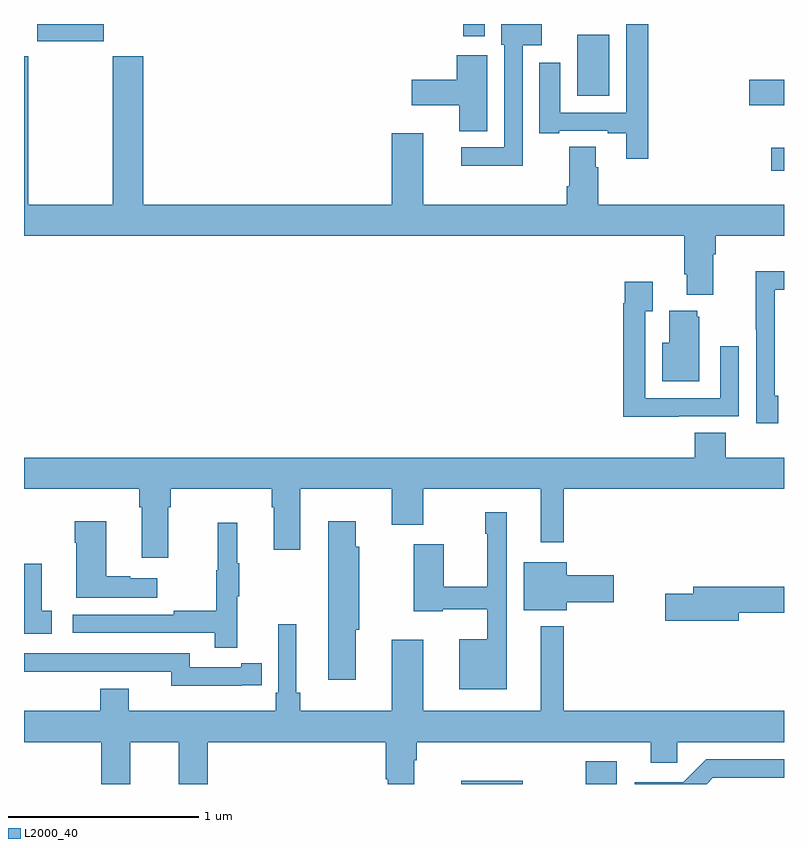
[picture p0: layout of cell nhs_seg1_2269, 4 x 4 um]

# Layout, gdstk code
import gdstk
lib = gdstk.Library(unit=1e-6, precision=1e-09)
def R(c, l, rs):  # rectangles x0, y0, x1, y1
    for r in rs: c.add(gdstk.rectangle(r[:2], r[2:], *l))
def P(c, l, *ps):  # polygons
    for p in ps: c.add(gdstk.Polygon(p, *l))
L2000_40 = (2000, 40)

nhs_seg1_2269 = lib.new_cell('nhs_seg1_2269')
R(nhs_seg1_2269, L2000_40, [(237.3,530.199,237.625,530.216), (237.956,530.199,238.12,530.32), (238.932,533.426,239,533.548), (238.818,533.771,239,533.906), (237.911,533.822,238.081,534.142), (235.07,534.107,235.42,534.199), (237.311,534.135,237.424,534.199)])
P(nhs_seg1_2269, L2000_40, [(238.286,534.199),(238.17,534.199),(238.17,533.733),(237.823,533.733),(237.823,533.995),(237.713,533.995),(237.713,533.625),(237.817,533.625),(237.817,533.637),(238.073,533.637),(238.073,533.625),(238.169,533.625),(238.169,533.49),(238.286,533.49)],
  [(237.624,534.086),(237.724,534.086),(237.724,534.199),(237.512,534.199),(237.512,534.09),(237.528,534.09),(237.528,533.55),(237.3,533.55),(237.3,533.453),(237.624,533.453)],
  [(237.439,534.034),(237.278,534.034),(237.278,533.906),(237.042,533.906),(237.042,533.771),(237.29,533.771),(237.29,533.635),(237.439,533.635)],
  [(238.627,532.988),(238.64,532.988),(238.64,533.084),(239,533.084),(239,533.248),(238.022,533.248),(238.022,533.444),(238.009,533.444),(238.009,533.552),(237.869,533.552),(237.869,533.344),(237.857,533.344),(237.857,533.248),(237.1,533.248),(237.1,533.623),(236.936,533.623),(236.936,533.248),(235.628,533.248),(235.628,534.028),(235.468,534.028),(235.468,533.248),(235.023,533.248),(235.023,534.028),(235,534.028),(235,533.084),(238.475,533.084),(238.475,532.882),(238.487,532.882),(238.487,532.775),(238.627,532.775)],
  [(238.969,532.242),(238.95,532.242),(238.95,532.8),(239,532.8),(239,532.898),(238.852,532.898),(238.852,532.591),(238.854,532.591),(238.854,532.098),(238.969,532.098)],
  [(238.445,532.134),(238.761,532.134),(238.761,532.504),(238.665,532.504),(238.665,532.23),(238.269,532.23),(238.269,532.687),(238.309,532.687),(238.309,532.843),(238.161,532.843),(238.161,532.73),(238.153,532.73),(238.153,532.133),(238.445,532.133)],
  [(238.555,532.659),(238.544,532.659),(238.544,532.69),(238.397,532.69),(238.397,532.522),(238.358,532.522),(238.358,532.319),(238.555,532.319)],
  [(235.759,531.656),(235.772,531.656),(235.772,531.752),(236.303,531.752),(236.303,531.656),(236.315,531.656),(236.315,531.432),(236.455,531.432),(236.455,531.752),(236.936,531.752),(236.936,531.564),(237.1,531.564),(237.1,531.752),(237.719,531.752),(237.719,531.471),(237.841,531.471),(237.841,531.752),(239,531.752),(239,531.916),(238.694,531.916),(238.694,532.049),(238.529,532.049),(238.529,531.916),(235,531.916),(235,531.752),(235.607,531.752),(235.607,531.656),(235.619,531.656),(235.619,531.39),(235.759,531.39)],
  [(237.541,531.628),(237.427,531.628),(237.427,531.515),(237.437,531.515),(237.437,531.236),(237.208,531.236),(237.208,531.46),(237.05,531.46),(237.05,531.107),(237.204,531.107),(237.204,531.119),(237.437,531.119),(237.437,530.962),(237.29,530.962),(237.29,530.699),(237.541,530.699)],
  [(235.702,531.283),(235.559,531.283),(235.559,531.293),(235.432,531.293),(235.432,531.583),(235.267,531.583),(235.267,531.47),(235.274,531.47),(235.274,531.179),(235.702,531.179)],
  [(236.746,531.011),(236.764,531.011),(236.764,531.447),(236.746,531.447),(236.746,531.583),(236.6,531.583),(236.6,530.748),(236.746,530.748)],
  [(236.123,531.187),(236.134,531.187),(236.134,531.361),(236.123,531.361),(236.123,531.574),(236.02,531.574),(236.02,531.324),(236.013,531.324),(236.013,531.11),(235.789,531.11),(235.789,531.09),(235.257,531.09),(235.257,530.994),(236.005,530.994),(236.005,530.916),(236.123,530.916)],
  [(237.856,531.155),(238.105,531.155),(238.105,531.297),(237.856,531.297),(237.856,531.367),(237.629,531.367),(237.629,531.113),(237.856,531.113)],
  [(235.147,531.111),(235.094,531.111),(235.094,531.358),(235,531.358),(235,530.991),(235.147,530.991)],
  [(238.762,531.1),(239,531.1),(239,531.236),(238.523,531.236),(238.523,531.2),(238.374,531.2),(238.374,531.058),(238.762,531.058)],
  [(236.144,530.718),(236.252,530.718),(236.252,530.834),(236.144,530.834),(236.144,530.814),(235.872,530.814),(235.872,530.886),(235,530.886),(235,530.789),(235.316,530.789),(235.316,530.79),(235.776,530.79),(235.776,530.717),(236.144,530.717)],
  [(237.841,531.028),(237.719,531.028),(237.719,530.584),(237.1,530.584),(237.1,530.959),(236.936,530.959),(236.936,530.584),(236.453,530.584),(236.453,530.68),(236.434,530.68),(236.434,531.04),(236.337,531.04),(236.337,530.68),(236.324,530.68),(236.324,530.584),(235.552,530.584),(235.552,530.701),(235.4,530.701),(235.4,530.584),(235,530.584),(235,530.42),(235.406,530.42),(235.406,530.199),(235.558,530.199),(235.558,530.42),(235.814,530.42),(235.814,530.199),(235.967,530.199),(235.967,530.42),(236.903,530.42),(236.903,530.224),(236.915,530.224),(236.915,530.199),(237.055,530.199),(237.055,530.324),(237.068,530.324),(237.068,530.42),(238.298,530.42),(238.298,530.31),(238.437,530.31),(238.437,530.42),(239,530.42),(239,530.584),(237.841,530.584)],
  [(238.626,530.232),(239,530.232),(239,530.328),(238.59,530.328),(238.47,530.208),(238.215,530.208),(238.215,530.199),(238.593,530.199)])

lib.write_gds('nhs_seg1_2269.gds')
